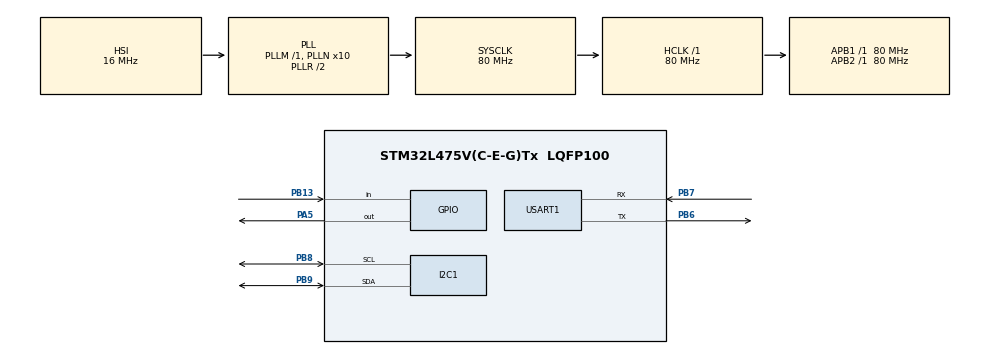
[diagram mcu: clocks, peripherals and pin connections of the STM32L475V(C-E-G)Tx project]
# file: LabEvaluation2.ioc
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I2C1.Timing=0x10D19CE4
Mcu.Family=STM32L4
Mcu.Name=STM32L475V(C-E-G)Tx
Mcu.Package=LQFP100
NVIC.PriorityGroup=NVIC_PRIORITYGROUP_4
PA5.Signal=GPIO_Output
PB13.Signal=GPIO_Input
PB6.Mode=Asynchronous
PB6.Signal=USART1_TX
PB7.Mode=Asynchronous
PB7.Signal=USART1_RX
PB8.Mode=I2C
PB8.Signal=I2C1_SCL
PB9.Mode=I2C
PB9.Signal=I2C1_SDA
PC14-OSC32_IN\ (PC14).Mode=LSE-External-Clock-Source
PC14-OSC32_IN\ (PC14).Signal=RCC_OSC32_IN
PH0-OSC_IN\ (PH0).Mode=HSE-External-Clock-Source
PH0-OSC_IN\ (PH0).Signal=RCC_OSC_IN
ProjectManager.HeapSize=0x200
ProjectManager.StackSize=0x400
ProjectManager.TargetToolchain=STM32CubeIDE
RCC.ADCFreq_Value=64000000
RCC.AHBFreq_Value=80000000
RCC.APB1Freq_Value=80000000
RCC.APB1TimFreq_Value=80000000
RCC.APB2Freq_Value=80000000
RCC.APB2TimFreq_Value=80000000
RCC.CortexFreq_Value=80000000
RCC.HCLKFreq_Value=80000000
RCC.HSE_VALUE=8000000
RCC.HSI_VALUE=16000000
RCC.LSE_VALUE=32768
RCC.MSI_VALUE=4000000
RCC.PLLN=10
RCC.PLLSourceVirtual=RCC_PLLSOURCE_HSI
RCC.SYSCLKFreq_VALUE=80000000
RCC.SYSCLKSource=RCC_SYSCLKSOURCE_PLLCLK
RCC.USBFreq_Value=64000000
RCC.VCOOutputFreq_Value=160000000
USART1.VirtualMode-Asynchronous=VM_ASYNC
board=custom

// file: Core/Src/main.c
/* USER CODE BEGIN Header */
/**
  ******************************************************************************
  * @file           : main.c
  * @brief          : Main program body
  ******************************************************************************
  * @attention
  *
  * Copyright (c) 2026 STMicroelectronics.
  * All rights reserved.
  *
  * This software is licensed under terms that can be found in the LICENSE file
  * in the root directory of this software component.
  * If no LICENSE file comes with this software, it is provided AS-IS.
  *
  ******************************************************************************
  */
/* USER CODE END Header */
#include "main.h"
#include "stm32l475e_iot01.h"
#include "stm32l475e_iot01_psensor.h"
#include "stm32l475e_iot01_accelero.h"
#include "stm32l475e_iot01_gyro.h"
#include "stdlib.h"
#include <math.h>
#include <string.h>
#include <stdio.h>

I2C_HandleTypeDef hi2c1;

UART_HandleTypeDef huart1;

/* USER CODE BEGIN PV */
char str[150];
float p_value = 0; // Measured pressure value
int16_t accel_data[3];
float ax, ay, az;

#define PRESSURE_NORMAL 982.0      // adjust to your environment
#define PRESSURE_THRESHOLD 5.0     // tighter range
#define MOTION_THRESHOLD 0.2       // after removing gravity

typedef enum {
    NORMAL,
    PRESSURE_ALERT,
    MOTION_ALERT,
    CRITICAL
} system_state_t;

system_state_t state;
/* USER CODE END PV */

void SystemClock_Config(void);
static void MX_GPIO_Init(void);
static void MX_I2C1_Init(void);
static void MX_USART1_UART_Init(void);

int main(void)
{

  /* MCU Configuration--------------------------------------------------------*/

  /* Reset of all peripherals, Initializes the Flash interface and the Systick. */
  HAL_Init();

  /* Configure the system clock */
  SystemClock_Config();

  /* Initialize all configured peripherals */
  MX_GPIO_Init();
  MX_I2C1_Init();
  MX_USART1_UART_Init();
  /* USER CODE BEGIN 2 */
  huart1.Init.BaudRate = 9600;
   HAL_UART_Init(&huart1);

   if (BSP_PSENSOR_Init() != PSENSOR_OK)
   {
     char err_msg[] = "Pressure Sensor Error\r\n";
     HAL_UART_Transmit(&huart1, (uint8_t*)err_msg, strlen(err_msg), 1000);
   }

   if (BSP_ACCELERO_Init() != ACCELERO_OK)
   {
     char err_msg[] = "Accel Sensor Error\r\n";
     HAL_UART_Transmit(&huart1, (uint8_t*)err_msg, strlen(err_msg), 1000);
   }

   HAL_Delay(100);
  /* USER CODE END 2 */

  /* Infinite loop */
  /* USER CODE BEGIN WHILE */
   uint32_t last_uart_time = 0;
   uint32_t last_led_time = 0;

   while (1)
   {
       p_value = BSP_PSENSOR_ReadPressure();

       BSP_ACCELERO_AccGetXYZ(accel_data);
       ax = accel_data[0] / 1000.0f;
       ay = accel_data[1] / 1000.0f;
       az = accel_data[2] / 1000.0f;

       float accel_mag = sqrt(ax*ax + ay*ay + az*az);
       float motion = fabs(accel_mag - 1.0);

       int pressure_flag = (fabs(p_value - PRESSURE_NORMAL) > PRESSURE_THRESHOLD);
       int motion_flag = (motion > MOTION_THRESHOLD);

       if (!pressure_flag && !motion_flag)
           state = NORMAL;
       else if (pressure_flag && !motion_flag)
           state = PRESSURE_ALERT;
       else if (!pressure_flag && motion_flag)
           state = MOTION_ALERT;
       else
           state = CRITICAL;

       uint32_t now = HAL_GetTick();

       uint32_t blink_delay;

       switch (state)
       {
           case NORMAL:
               HAL_GPIO_WritePin(GPIOA, GPIO_PIN_5, GPIO_PIN_RESET);
               break;

           case PRESSURE_ALERT:
               blink_delay = 800;
               if (now - last_led_time > blink_delay)
               {
                   HAL_GPIO_TogglePin(GPIOA, GPIO_PIN_5);
                   last_led_time = now;
               }
               break;

           case MOTION_ALERT:
               blink_delay = 400;
               if (now - last_led_time > blink_delay)
               {
                   HAL_GPIO_TogglePin(GPIOA, GPIO_PIN_5);
                   last_led_time = now;
               }
               break;

           case CRITICAL:
               blink_delay = 150;
               if (now - last_led_time > blink_delay)
               {
                   HAL_GPIO_TogglePin(GPIOA, GPIO_PIN_5);
                   last_led_time = now;
               }
               break;
       }

       if (now - last_uart_time > 3000)
       {
           char *state_str;

           switch(state)
           {
               case NORMAL: state_str = "NORMAL"; break;
               case PRESSURE_ALERT: state_str = "PRESSURE_ALERT"; break;
               case MOTION_ALERT: state_str = "MOTION_ALERT"; break;
               case CRITICAL: state_str = "CRITICAL"; break;
           }

           sprintf(str,
               "P=%.1fhPa AX=%.2fg AY=%.2fg AZ=%.2fg STATE=%s\r\n",
               p_value, ax, ay, az, state_str);

           HAL_UART_Transmit(&huart1, (uint8_t*)str, strlen(str), 1000);

           last_uart_time = now;
       }
   }
  /* USER CODE END 3 */
}

void SystemClock_Config(void)
{
  RCC_OscInitTypeDef RCC_OscInitStruct = {0};
  RCC_ClkInitTypeDef RCC_ClkInitStruct = {0};

  /** Configure the main internal regulator output voltage
  */
  if (HAL_PWREx_ControlVoltageScaling(PWR_REGULATOR_VOLTAGE_SCALE1) != HAL_OK)
  {
    Error_Handler();
  }

  /** Initializes the RCC Oscillators according to the specified parameters
  * in the RCC_OscInitTypeDef structure.
  */
  RCC_OscInitStruct.OscillatorType = RCC_OSCILLATORTYPE_HSI;
  RCC_OscInitStruct.HSIState = RCC_HSI_ON;
  RCC_OscInitStruct.HSICalibrationValue = RCC_HSICALIBRATION_DEFAULT;
  RCC_OscInitStruct.PLL.PLLState = RCC_PLL_ON;
  RCC_OscInitStruct.PLL.PLLSource = RCC_PLLSOURCE_HSI;
  RCC_OscInitStruct.PLL.PLLM = 1;
  RCC_OscInitStruct.PLL.PLLN = 10;
  RCC_OscInitStruct.PLL.PLLP = RCC_PLLP_DIV7;
  RCC_OscInitStruct.PLL.PLLQ = RCC_PLLQ_DIV2;
  RCC_OscInitStruct.PLL.PLLR = RCC_PLLR_DIV2;
  if (HAL_RCC_OscConfig(&RCC_OscInitStruct) != HAL_OK)
  {
    Error_Handler();
  }

  /** Initializes the CPU, AHB and APB buses clocks
  */
  RCC_ClkInitStruct.ClockType = RCC_CLOCKTYPE_HCLK|RCC_CLOCKTYPE_SYSCLK
                              |RCC_CLOCKTYPE_PCLK1|RCC_CLOCKTYPE_PCLK2;
  RCC_ClkInitStruct.SYSCLKSource = RCC_SYSCLKSOURCE_PLLCLK;
  RCC_ClkInitStruct.AHBCLKDivider = RCC_SYSCLK_DIV1;
  RCC_ClkInitStruct.APB1CLKDivider = RCC_HCLK_DIV1;
  RCC_ClkInitStruct.APB2CLKDivider = RCC_HCLK_DIV1;

  if (HAL_RCC_ClockConfig(&RCC_ClkInitStruct, FLASH_LATENCY_4) != HAL_OK)
  {
    Error_Handler();
  }
}

static void MX_I2C1_Init(void)
{

  hi2c1.Instance = I2C1;
  hi2c1.Init.Timing = 0x10D19CE4;
  hi2c1.Init.OwnAddress1 = 0;
  hi2c1.Init.AddressingMode = I2C_ADDRESSINGMODE_7BIT;
  hi2c1.Init.DualAddressMode = I2C_DUALADDRESS_DISABLE;
  hi2c1.Init.OwnAddress2 = 0;
  hi2c1.Init.OwnAddress2Masks = I2C_OA2_NOMASK;
  hi2c1.Init.GeneralCallMode = I2C_GENERALCALL_DISABLE;
  hi2c1.Init.NoStretchMode = I2C_NOSTRETCH_DISABLE;
  if (HAL_I2C_Init(&hi2c1) != HAL_OK)
  {
    Error_Handler();
  }

  /** Configure Analogue filter
  */
  if (HAL_I2CEx_ConfigAnalogFilter(&hi2c1, I2C_ANALOGFILTER_ENABLE) != HAL_OK)
  {
    Error_Handler();
  }

  /** Configure Digital filter
  */
  if (HAL_I2CEx_ConfigDigitalFilter(&hi2c1, 0) != HAL_OK)
  {
    Error_Handler();
  }

}

static void MX_USART1_UART_Init(void)
{

  huart1.Instance = USART1;
  huart1.Init.BaudRate = 115200;
  huart1.Init.WordLength = UART_WORDLENGTH_8B;
  huart1.Init.StopBits = UART_STOPBITS_1;
  huart1.Init.Parity = UART_PARITY_NONE;
  huart1.Init.Mode = UART_MODE_TX_RX;
  huart1.Init.HwFlowCtl = UART_HWCONTROL_NONE;
  huart1.Init.OverSampling = UART_OVERSAMPLING_16;
  huart1.Init.OneBitSampling = UART_ONE_BIT_SAMPLE_DISABLE;
  huart1.AdvancedInit.AdvFeatureInit = UART_ADVFEATURE_NO_INIT;
  if (HAL_UART_Init(&huart1) != HAL_OK)
  {
    Error_Handler();
  }

}

static void MX_GPIO_Init(void)
{
  GPIO_InitTypeDef GPIO_InitStruct = {0};

  /* GPIO Ports Clock Enable */
  __HAL_RCC_GPIOC_CLK_ENABLE();
  __HAL_RCC_GPIOH_CLK_ENABLE();
  __HAL_RCC_GPIOA_CLK_ENABLE();
  __HAL_RCC_GPIOB_CLK_ENABLE();

  /*Configure GPIO pin Output Level */
  HAL_GPIO_WritePin(GPIOA, GPIO_PIN_5, GPIO_PIN_RESET);

  /*Configure GPIO pin : PA5 */
  GPIO_InitStruct.Pin = GPIO_PIN_5;
  GPIO_InitStruct.Mode = GPIO_MODE_OUTPUT_PP;
  GPIO_InitStruct.Pull = GPIO_NOPULL;
  GPIO_InitStruct.Speed = GPIO_SPEED_FREQ_LOW;
  HAL_GPIO_Init(GPIOA, &GPIO_InitStruct);

  /*Configure GPIO pin : PB13 */
  GPIO_InitStruct.Pin = GPIO_PIN_13;
  GPIO_InitStruct.Mode = GPIO_MODE_INPUT;
  GPIO_InitStruct.Pull = GPIO_NOPULL;
  HAL_GPIO_Init(GPIOB, &GPIO_InitStruct);

}

void Error_Handler(void)
{
  __disable_irq();
  while (1)
  {
  }
}
